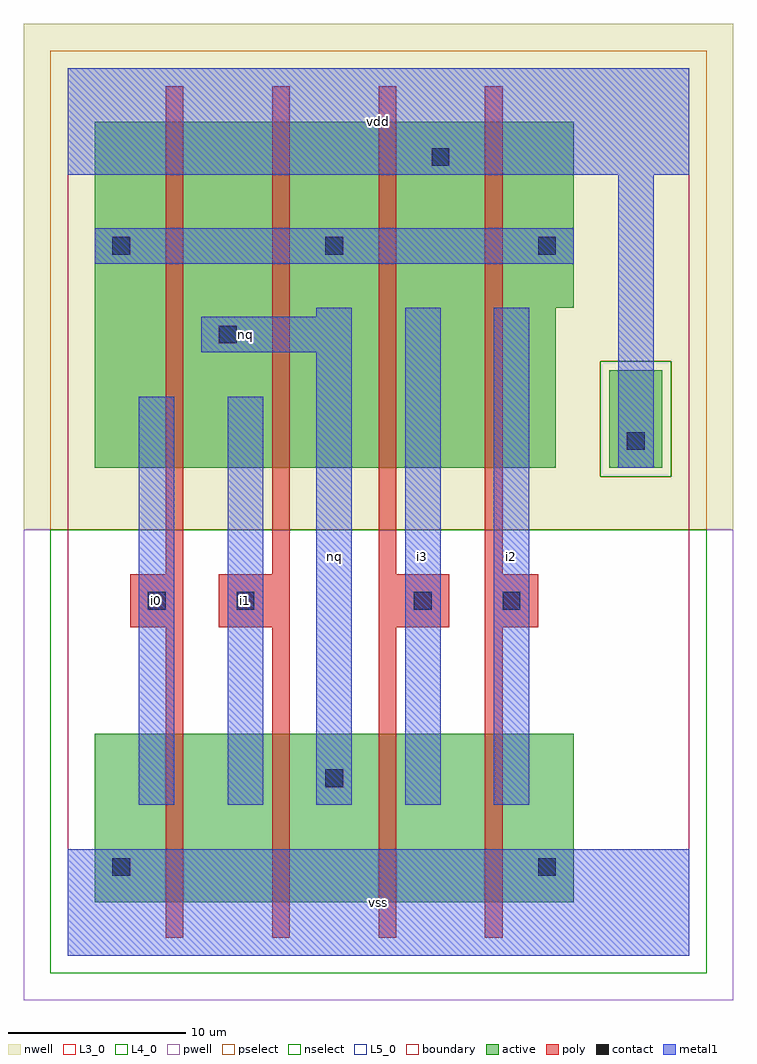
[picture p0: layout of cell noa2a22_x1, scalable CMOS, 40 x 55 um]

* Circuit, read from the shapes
.subckt noa2a22_x1 i0 i1 i2 i3 nq vdd vss
M1 n1 i0 vss VSUBS nfet w=9.5u l=1u
M2 nq i1 n1 VSUBS nfet w=9.5u l=1u
M3 n2 i3 nq VSUBS nfet w=9.5u l=1u
M4 vss i2 n2 VSUBS nfet w=9.5u l=1u
M5 nq i0 n3 vdd pfet w=19.5u l=1u
M6 n3 i1 nq vdd pfet w=19.5u l=1u
M7 vdd i3 n3 vdd pfet w=19.5u l=1u
M8 n3 i2 vdd vdd pfet w=19.5u l=1u
.ends

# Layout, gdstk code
import gdstk
lib = gdstk.Library(unit=1e-6, precision=1e-09)
def R(c, l, rs):  # rectangles x0, y0, x1, y1
    for r in rs: c.add(gdstk.rectangle(r[:2], r[2:], *l))
def A(c, l, x, y, w, h, nx, ny, dx, dy):  # array of equal rectangles
    R(c, l, [(x+i*dx, y+j*dy, x+i*dx+w, y+j*dy+h) for i in range(nx) for j in range(ny)])
L3_0 = (3, 0)
L4_0 = (4, 0)
L5_0 = (5, 0)
contact = (25, 0)
pwell = (41, 0)
nwell = (42, 0)
active = (43, 0)
pselect = (44, 0)
nselect = (45, 0)
poly = (46, 0)
metal1 = (49, 0)
boundary = (63, 0)

noa2a22_x1 = lib.new_cell('noa2a22_x1')
R(noa2a22_x1, L3_0, [(1.5,3,28.5,12.5)])
R(noa2a22_x1, L4_0, [(1.5,27.5,27.5,36.5), (1.5,36.5,28.5,47)])
R(noa2a22_x1, L5_0, [(30.5,27.5,33.5,33)])
A(noa2a22_x1, contact, 2.5, 39.5, 1, 1, 3, 1, 12, 0)
R(noa2a22_x1, contact, [(2.5,4.5,3.5,5.5), (26.5,4.5,27.5,5.5), (14.5,9.5,15.5,10.5), (4.5,19.5,5.5,20.5), (9.5,19.5,10.5,20.5), (19.5,19.5,20.5,20.5), (24.5,19.5,25.5,20.5), (31.5,28.5,32.5,29.5), (8.5,34.5,9.5,35.5), (20.5,44.5,21.5,45.5)])
R(noa2a22_x1, pwell, [(-2.5,-2.5,37.5,24)])
R(noa2a22_x1, nwell, [(-2.5,24,37.5,52.5)])
R(noa2a22_x1, active, [(1.5,3,28.5,12.5), (1.5,27.5,27.5,36.5), (30.5,27.5,33.5,33), (1.5,36.5,28.5,47)])
R(noa2a22_x1, pselect, [(-1,24,36,27), (-1,27,30,33.5), (34,27,36,33.5), (-1,33.5,36,51)])
R(noa2a22_x1, nselect, [(-1,-1,36,24), (30,27,34,33.5)])
A(noa2a22_x1, poly, 5.5, 1, 1, 17.5, 4, 1, 6, 0)
A(noa2a22_x1, poly, 5.5, 21.5, 1, 27.5, 4, 1, 6, 0)
R(noa2a22_x1, poly, [(3.5,18.5,6.5,21.5), (8.5,18.5,12.5,21.5), (17.5,18.5,21.5,21.5), (23.5,18.5,26.5,21.5)])
R(noa2a22_x1, metal1, [(0,0,35,6), (0,0,35,6), (4,8.5,6,31.5), (4,8.5,6,31.5), (9,8.5,11,31.5), (9,8.5,11,31.5), (14,8.5,16,34), (14,8.5,16,34), (19,8.5,21,36.5), (19,8.5,21,36.5), (24,8.5,26,36.5), (24,8.5,26,36.5), (31,27.5,33,44), (31,27.5,33,44), (7.5,34,16,36), (7.5,34,16,36), (14,36,16,36.5), (14,36,16,36.5), (1.5,39,28.5,41), (1.5,39,28.5,41), (0,44,35,50), (0,44,35,50)])
R(noa2a22_x1, boundary, [(0,0,35,50)])
noa2a22_x1.add(gdstk.Label('i0', (5,20), layer=49, texttype=0))
noa2a22_x1.add(gdstk.Label('i1', (10,20), layer=49, texttype=0))
noa2a22_x1.add(gdstk.Label('nq', (15,22.5), layer=49, texttype=0))
noa2a22_x1.add(gdstk.Label('nq', (10,35), layer=49, texttype=0))
noa2a22_x1.add(gdstk.Label('vss', (17.5,3), layer=49, texttype=0))
noa2a22_x1.add(gdstk.Label('i2', (25,22.5), layer=49, texttype=0))
noa2a22_x1.add(gdstk.Label('i3', (20,22.5), layer=49, texttype=0))
noa2a22_x1.add(gdstk.Label('vdd', (17.5,47), layer=49, texttype=0))

lib.write_gds('noa2a22_x1.gds')
